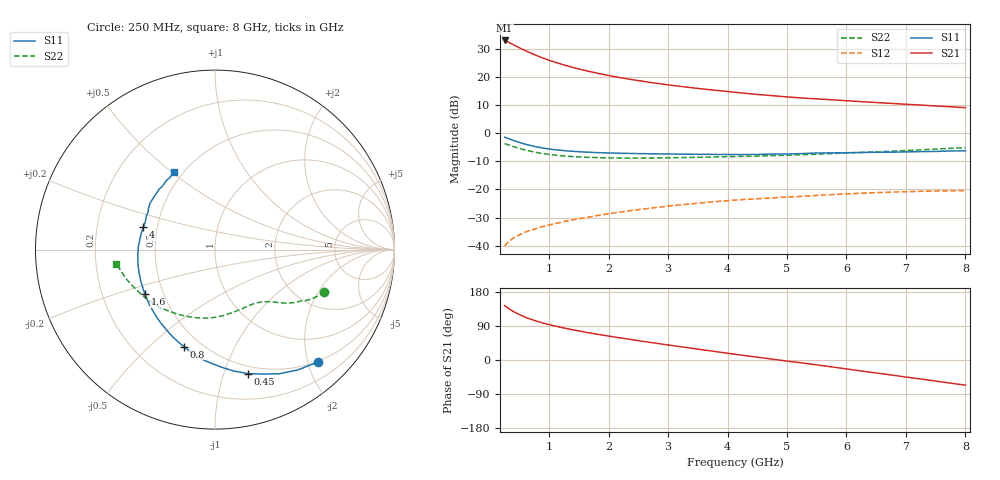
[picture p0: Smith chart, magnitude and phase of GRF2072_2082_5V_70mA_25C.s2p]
! Data measured by Modelithics, Inc.
! support@modelithics.com 813-866-6335 Tampa FL USA
# GHZ S MA R 50
! Scattering Parameters
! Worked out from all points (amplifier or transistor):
!   55 points, 250 MHz to 8 GHz, reference 50 ohm
!   highest |S21| = 33.0 dB at 250 MHz (marker M1)
!   |S21| within 3 dB of that: start of sweep to 535.7 MHz
!   unconditionally stable (mu >= 1): 2.555 GHz to 6.653 GHz
!   at 700 MHz: K = 0.61, MSG = 31.4 dB, |S12| = -34.4 dB
!   at 2.2 GHz: K = 0.97, MSG = 23.9 dB, |S12| = -28.0 dB
!   at 8 GHz: K = 0.96, MSG = 14.7 dB, |S12| = -20.4 dB
!   lowest NFmin = 0.07 dB at 250 MHz
!   S11 on the Smith chart (normalised r, x): 250 MHz: 0.48, -2.17; 450 MHz: 0.43, -1.20; 800 MHz: 0.41, -0.65; 1.6 GHz: 0.39, -0.25; 4 GHz: 0.42, +0.13; 8 GHz: 0.45, +0.51
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0.25  0.8487 -47.7  44.56 143.7  0.00981 66.6  0.6533 -21.0
0.3  0.8139 -55.4  42.07 138.0  0.01132 61.7  0.6286 -24.4
0.35  0.7786 -62.7  39.63 132.6  0.01255 59.4  0.602 -27.3
0.4  0.7416 -69.3  37.19 127.8  0.01379 58.6  0.5773 -29.5
0.45  0.7139 -75.2  34.95 123.9  0.01466 57.9  0.5559 -31.0
0.5  0.6857 -81.0  32.93 119.8  0.01554 55.2  0.5379 -33.2
0.55  0.6589 -86.3  31.01 116.2  0.01654 53.6  0.518 -34.9
0.6  0.6368 -91.2  29.34 112.9  0.01752 53.2  0.5023 -36.3
0.7  0.6006 -99.9  26.31 107.2  0.01897 51.8  0.4756 -38.6
0.8  0.5676 -107.8  23.74 102.0  0.02048 50.1  0.4516 -40.6
0.95  0.5334 -117.9  20.67 95.3  0.02265 49.1  0.426 -43.1
1.1  0.5087 -126.3  18.27 89.5  0.02468 47.3  0.4071 -45.4
1.3  0.485 -135.8  15.76 82.7  0.02752 45.8  0.3901 -48.4
1.6  0.4624 -147.5  13.07 73.7  0.03151 43.4  0.3746 -53.0
1.9  0.4496 -156.9  11.14 65.7  0.03557 41.0  0.3654 -57.6
2.2  0.4399 -165.0  9.704 58.1  0.03968 38.1  0.3622 -62.5
2.9  0.4277 -179.8  7.482 41.9  0.04921 30.5  0.3656 -74.7
4  0.4186 162.4  5.509 17.9  0.06318 16.3  0.3825 -95.0
4.25  0.4172 159.3  5.178 12.5  0.06606 12.8  0.3877 -100.0
5.5  0.4447 144.6  4.078 -12.9  0.07839 -4.5  0.4236 -124.3
6.75  0.4591 129.7  3.39 -39.5  0.08967 -23.9  0.4788 -147.9
8  0.4864 117.9  2.845 -66.3  0.09575 -44.3  0.5547 -171.8
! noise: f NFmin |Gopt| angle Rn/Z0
0.25  0.07024  0.2489  12.53  0.05024
0.55  0.0885  0.2577  31.91  0.04313
0.85  0.1082  0.2666  50.47  0.03707
1.3  0.1407  0.2799  76.76  0.02995
1.9  0.1891  0.2976  108.9  0.02413
2.5  0.2436  0.3152  137.8  0.02251
3.25  0.32  0.3374  169.2  0.0264
4.75  0.501  0.3816  -143.4  0.05388
6.5  0.7593  0.4332  -114.2  0.1191
8  1.021  0.4774  -111.6  0.2035
